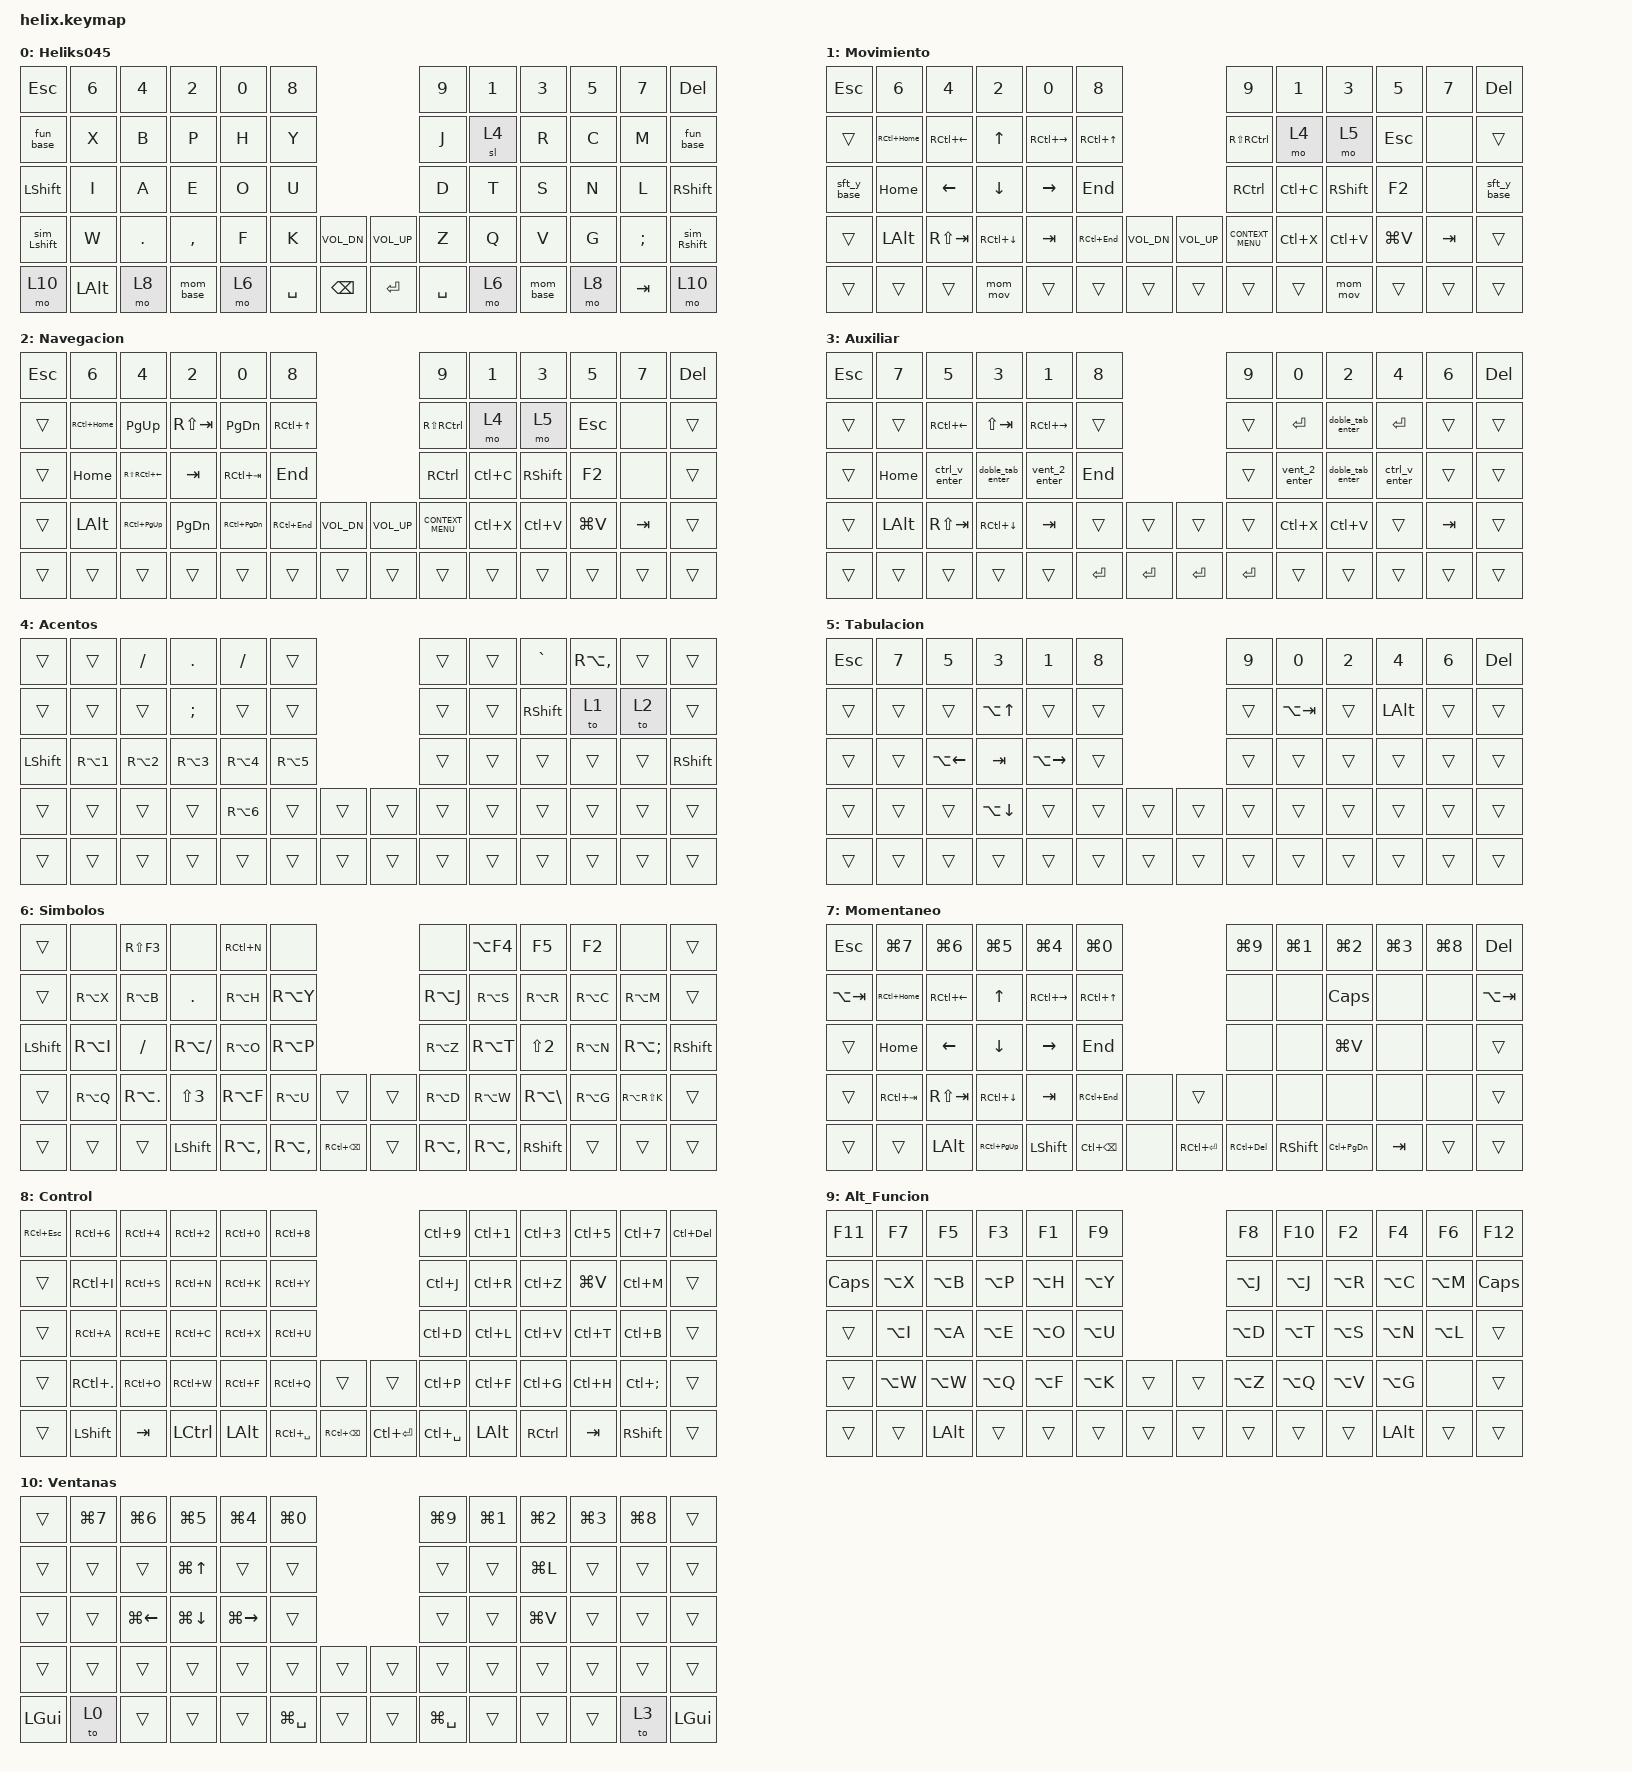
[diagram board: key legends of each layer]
/*
 * Copyright (c) 2020 The ZMK Contributors
 *
 * SPDX-License-Identifier: MIT
 */

#include <behaviors.dtsi>
#include <dt-bindings/zmk/keys.h>

#define DEFAULT 0
#define LOWER  1
#define RAISE  2
#define ADJUST 3

/* NOTE: At the time of the creation of this keymap, there are no specified codes for 'eisuu' and 'kana' input in ZMK.
However, 'LANG1' and 'LANG2' are fully-functioning candidates for 'kana' and 'eisuu' input respectively.
As such, those are in use within the default layer at this time.*/

/ {
    macros {
        sft_y_base: sft_y_base {
            compatible = "zmk,behavior-macro";
            #binding-cells = <0>;
            bindings =
                <&macro_tap>,
                <&to 0>,
                <&macro_press>,
                <&kp RIGHT_SHIFT>,
                <&macro_pause_for_release>,
                <&macro_release>,
                <&kp RIGHT_SHIFT>;

            label = "SFT_Y_BASE";
        };

        mom_base: mom_alt {
            compatible = "zmk,behavior-macro";
            #binding-cells = <0>;
            bindings =
                <&macro_tap>,
                <&to 7>,
                <&macro_pause_for_release>,
                <&macro_tap>,
                <&to 0>;

            label = "MOM_ALT";
        };

        alt_tab: lalt_tab {
            compatible = "zmk,behavior-macro";
            #binding-cells = <0>;
            bindings = <&macro_press>, <&kp LEFT_ALT>, <&macro_tap>, <&kp TAB>;

            label = "LALT_TAB";
        };

        sim_Lshift: sim_shift {
            compatible = "zmk,behavior-macro";
            #binding-cells = <0>;
            bindings =
                <&macro_tap>,
                <&tog 6>,
                <&macro_press>,
                <&kp LEFT_SHIFT>,
                <&macro_pause_for_release>,
                <&macro_release>,
                <&kp LEFT_SHIFT>,
                <&macro_tap>,
                <&tog 6>;

            label = "SIM_SHIFT";
        };

        sim_Rshift: sim_Rshift {
            compatible = "zmk,behavior-macro";
            #binding-cells = <0>;
            bindings =
                <&macro_tap>,
                <&tog 6>,
                <&macro_press>,
                <&kp RIGHT_SHIFT>,
                <&macro_pause_for_release>,
                <&macro_release>,
                <&kp RIGHT_SHIFT>,
                <&macro_tap>,
                <&tog 6>;

            label = "SIM_RSHIFT";
        };

        mom_mov: mom_mov {
            compatible = "zmk,behavior-macro";
            #binding-cells = <0>;
            bindings =
                <&macro_tap>,
                <&to 7>,
                <&macro_pause_for_release>,
                <&macro_tap>,
                <&to 1>;

            label = "MOM_MOV";
        };

        fun_base: fun_base {
            compatible = "zmk,behavior-macro";
            #binding-cells = <0>;
            bindings =
                <&macro_tap>,
                <&to 9>,
                <&macro_pause_for_release>,
                <&macro_tap>,
                <&to 0>;

            label = "FUN_BASE";
        };

        doble_tab_enter: doble_tab {
            compatible = "zmk,behavior-macro";
            #binding-cells = <0>;
            bindings = <&kp TAB &kp TAB &kp ENTER>;
            label = "DOBLE_TAB";
        };

        ctrl_v_enter: ctrl_v_enter {
            compatible = "zmk,behavior-macro";
            #binding-cells = <0>;
            bindings = <&kp LC(V) &kp ENTER>;
            label = "CTRL_V_ENTER";
        };

        vent_2_enter: vent_2_enter {
            compatible = "zmk,behavior-macro";
            #binding-cells = <0>;
            bindings = <&kp LG(NUMBER_2) &kp ENTER>;
            label = "VENT_2_ENTER";
        };
    };

    keymap {
        compatible = "zmk,keymap";

        Heliks045 {
            // ---------------------------------------------------------------------------------------------------------------------------------
            // | GRAVE  |   1    |   2    |   3    |   4    |   5    |                                      |   6    |   7    |   8    |   9    |   0    |  DEL   |
            // |  TAB   |   Q    |   W    |   E    |   R    |   T    |                                      |   Y    |   U    |   I    |   O    |   P    |  BSPC  |
            // |  CTRL  |   A    |   S    |   D    |   F    |   G    |                                      |   H    |   J    |   K    |   L    |   ;    |   '    |
            // |  SHIFT |   Z    |   X    |   C    |   V    |   B    |  LBKT  |                    |  RBKT  |   N    |   M    |   ,    |   .    |   /    |  RET   |
            // | ADJUST |  ESC   |  ALT   |  LGUI  | EISUU  | LOWER  | SPACE  |                    |  SPACE | RAISE  |  KANA  |  LEFT  |  DOWN  |  UP    |  RIGHT |

            bindings = <
&kp ESC         &kp N6        &kp N4      &kp N2     &kp N0  &kp N8                                       &kp N9     &kp N1  &kp N3     &kp N5  &kp N7         &kp DEL
&fun_base       &kp X         &kp B       &kp P      &kp H   &kp Y                                        &kp J      &sl 4   &kp R      &kp C   &kp M          &fun_base
&kp LEFT_SHIFT  &kp I         &kp A       &kp E      &kp O   &kp U                                        &kp D      &kp T   &kp S      &kp N   &kp L          &kp RIGHT_SHIFT
&sim_Lshift     &kp W         &kp PERIOD  &kp COMMA  &kp F   &kp K      &kp C_VOL_DN     &kp C_VOLUME_UP  &kp Z      &kp Q   &kp V      &kp G   &kp SEMICOLON  &sim_Rshift
&mo 10          &kp LEFT_ALT  &mo 8       &mom_base  &mo 6   &kp SPACE  &kp BACKSPACE    &kp ENTER        &kp SPACE  &mo 6   &mom_base  &mo 8   &kp TAB        &mo 10
            >;
        };

        Movimiento {
            // ---------------------------------------------------------------------------------------------------------------------------------
            // |      |      |      |      |      |      |                                  |      |      |      |      |      |      |
            // |  ~   |  !   |  @   |  #   |  $   |  %   |                                  |  ^   |  &   |  *   |  (   |  )   |      |
            // |      |      |      |      |      |      |                                  |      |  _   |  +   |  {   |  }   | PIPE |
            // |      |      |      |      |      |      |  (   |                    |  )   |      |      |      | HOME | END  |      |
            // |      |      |      |      |      |      |      |                    |      |      |      |      |      |      |      |

            bindings = <
&kp ESC      &kp N6        &kp N4        &kp N2        &kp N0         &kp N8                                          &kp N9              &kp N1     &kp N3           &kp N5     &kp N7   &kp DEL
&trans       &kp RC(HOME)  &kp RC(LEFT)  &kp UP_ARROW  &kp RC(RIGHT)  &kp RC(UP_ARROW)                                &kp RS(RCTRL)       &mo 4      &mo 5            &kp ESC    &none    &trans
&sft_y_base  &kp HOME      &kp LEFT      &kp DOWN      &kp RIGHT      &kp END                                         &kp RCTRL           &kp LC(C)  &kp RIGHT_SHIFT  &kp F2     &none    &sft_y_base
&trans       &kp LEFT_ALT  &kp RS(TAB)   &kp RC(DOWN)  &kp TAB        &kp RC(END)       &kp C_VOL_DN    &kp C_VOL_UP  &kp K_CONTEXT_MENU  &kp LC(X)  &kp LC(V)        &kp LG(V)  &kp TAB  &trans
&trans       &trans        &trans        &mom_mov      &trans         &trans            &trans          &trans        &trans              &trans     &mom_mov         &trans     &trans   &trans
            >;
        };

        Navegacion {
            bindings = <
&kp ESC  &kp N6        &kp N4            &kp N2         &kp N0             &kp N8                                          &kp N9              &kp N1     &kp N3           &kp N5     &kp N7   &kp DEL
&trans   &kp RC(HOME)  &kp PAGE_UP       &kp RS(TAB)    &kp PAGE_DOWN      &kp RC(UP_ARROW)                                &kp RS(RCTRL)       &mo 4      &mo 5            &kp ESC    &none    &trans
&trans   &kp HOME      &kp RS(RC(LEFT))  &kp TAB        &kp RC(TAB)        &kp END                                         &kp RCTRL           &kp LC(C)  &kp RIGHT_SHIFT  &kp F2     &none    &trans
&trans   &kp LEFT_ALT  &kp RC(PAGE_UP)   &kp PAGE_DOWN  &kp RC(PAGE_DOWN)  &kp RC(END)       &kp C_VOL_DN    &kp C_VOL_UP  &kp K_CONTEXT_MENU  &kp LC(X)  &kp LC(V)        &kp LG(V)  &kp TAB  &trans
&trans   &trans        &trans            &trans         &trans             &trans            &trans          &trans        &trans              &trans     &trans           &trans     &trans   &trans
            >;
        };

        Auxiliar {
            // ---------------------------------------------------------------------------------------------------------------------------------
            // |    `     |    !     |    @     |    #     |    $     |    %     |                                          |    ^     |    &     |    *     |    (     |    )     |  EP TOG  |
            // |  BT CLR  | BT SEL0  | BT SEL1  | BT SEL2  | BGT SEL3 | BT SEL4  |                                          | RGB EFF+ | RGB HUE+ | RGB SAT+ | RGB SPD+ | RGB BRI+ | RGB TOG  |
            // |  BT NXT  | OUT TOG  | OUT USB  | OUT BLE  |          |          |                                          | RGB EFF- | RGB HUE- | RGB SAT- | RGB SPD- | RGB BRI- |          |
            // |  BT PRV  |          |          |          |          |          |    {     |                    |    }     |          |          |          |          |          |          |
            // |          |          |          |          |          |          |          |                    |          |          |          |          |          |          |          |

            bindings = <
&kp ESC  &kp N7        &kp N5         &kp N3            &kp N1         &kp N8                             &kp N9     &kp N0         &kp N2            &kp N4         &kp N6   &kp DEL
&trans   &trans        &kp RC(LEFT)   &kp LS(TAB)       &kp RC(RIGHT)  &trans                             &trans     &kp ENTER      &doble_tab_enter  &kp ENTER      &trans   &trans
&trans   &kp HOME      &ctrl_v_enter  &doble_tab_enter  &vent_2_enter  &kp END                            &trans     &vent_2_enter  &doble_tab_enter  &ctrl_v_enter  &trans   &trans
&trans   &kp LEFT_ALT  &kp RS(TAB)    &kp RC(DOWN)      &kp TAB        &trans     &trans       &trans     &trans     &kp LC(X)      &kp LC(V)         &trans         &kp TAB  &trans
&trans   &trans        &trans         &trans            &trans         &kp ENTER  &kp ENTER    &kp ENTER  &kp ENTER  &trans         &trans            &trans         &trans   &trans
            >;
        };

        Acentos {
            bindings = <
&trans          &trans            &kp SLASH         &kp DOT           &kp SLASH         &trans                        &trans  &trans  &kp GRAVE   &kp RA(COMMA)  &trans  &trans
&trans          &trans            &trans            &kp SEMICOLON     &trans            &trans                        &trans  &trans  &kp RSHIFT  &to 1          &to 2   &trans
&kp LEFT_SHIFT  &kp RA(NUMBER_1)  &kp RA(NUMBER_2)  &kp RA(NUMBER_3)  &kp RA(NUMBER_4)  &kp RA(N5)                    &trans  &trans  &trans      &trans         &trans  &kp RIGHT_SHIFT
&trans          &trans            &trans            &trans            &kp RA(NUMBER_6)  &trans      &trans    &trans  &trans  &trans  &trans      &trans         &trans  &trans
&trans          &trans            &trans            &trans            &trans            &trans      &trans    &trans  &trans  &trans  &trans      &trans         &trans  &trans
            >;
        };

        Tabulacion {
            bindings = <
&kp ESC  &kp N7  &kp N5              &kp N3              &kp N1               &kp N8                    &kp N9  &kp N0       &kp N2  &kp N4        &kp N6  &kp DEL
&trans   &trans  &trans              &kp LA(UP_ARROW)    &trans               &trans                    &trans  &kp LA(TAB)  &trans  &kp LEFT_ALT  &trans  &trans
&trans   &trans  &kp LA(LEFT_ARROW)  &kp TAB             &kp LA(RIGHT_ARROW)  &trans                    &trans  &trans       &trans  &trans        &trans  &trans
&trans   &trans  &trans              &kp LA(DOWN_ARROW)  &trans               &trans  &trans    &trans  &trans  &trans       &trans  &trans        &trans  &trans
&trans   &trans  &trans              &trans              &trans               &trans  &trans    &trans  &trans  &trans       &trans  &trans        &trans  &trans
            >;
        };

        Simbolos {
            bindings = <
&trans          &none      &kp RS(F3)      &none             &kp RC(N)      &none                                       &none          &kp LA(F4)     &kp F5             &kp F2     &none              &trans
&trans          &kp RA(X)  &kp RA(B)       &kp PERIOD        &kp RA(H)      &kp RA(Y)                                   &kp RA(J)      &kp RA(S)      &kp RA(R)          &kp RA(C)  &kp RA(M)          &trans
&kp LEFT_SHIFT  &kp RA(I)  &kp SLASH       &kp RA(SLASH)     &kp RA(O)      &kp RA(P)                                   &kp RA(Z)      &kp RA(T)      &kp LS(NUMBER_2)   &kp RA(N)  &kp RA(SEMICOLON)  &kp RIGHT_SHIFT
&trans          &kp RA(Q)  &kp RA(PERIOD)  &kp LS(NUMBER_3)  &kp RA(F)      &kp RA(U)      &trans               &trans  &kp RA(D)      &kp RA(W)      &kp RA(BACKSLASH)  &kp RA(G)  &kp RA(RS(K))      &trans
&trans          &trans     &trans          &kp LEFT_SHIFT    &kp RA(COMMA)  &kp RA(COMMA)  &kp RC(BACKSPACE)    &trans  &kp RA(COMMA)  &kp RA(COMMA)  &kp RIGHT_SHIFT    &trans     &trans             &trans
            >;
        };

        Momentaneo {
            bindings = <
&kp ESC      &kp LG(N7)    &kp LG(N6)      &kp LG(N5)          &kp LG(N4)      &kp LG(N0)                                 &kp LG(N9)      &kp LG(N1)       &kp LG(N2)         &kp LG(N3)  &kp LG(N8)  &kp DEL
&kp LA(TAB)  &kp RC(HOME)  &kp RC(LEFT)    &kp UP_ARROW        &kp RC(RIGHT)   &kp RC(UP_ARROW)                           &none           &none            &kp CAPS           &none       &none       &kp LA(TAB)
&trans       &kp HOME      &kp LEFT_ARROW  &kp DOWN_ARROW      &kp RIGHT       &kp END                                    &none           &none            &kp LG(V)          &none       &none       &trans
&trans       &kp RC(TAB)   &kp RS(TAB)     &kp RC(DOWN_ARROW)  &kp TAB         &kp RC(END)        &none    &trans         &none           &none            &none              &none       &none       &trans
&trans       &trans        &kp LEFT_ALT    &kp RC(PAGE_UP)     &kp LEFT_SHIFT  &kp LC(BACKSPACE)  &none    &kp RC(ENTER)  &kp RC(DELETE)  &kp RIGHT_SHIFT  &kp LC(PAGE_DOWN)  &kp TAB     &trans      &trans
            >;
        };

        Control {
            bindings = <
&kp RC(ESC)  &kp RC(N6)      &kp RC(N4)  &kp RC(N2)        &kp RC(N0)    &kp RC(N8)                                         &kp LC(N9)     &kp LC(N1)    &kp LC(N3)         &kp LC(N5)  &kp LC(N7)       &kp LC(DEL)
&trans       &kp RC(I)       &kp RC(S)   &kp RC(N)         &kp RC(K)     &kp RC(Y)                                          &kp LC(J)      &kp LC(R)     &kp LC(Z)          &kp LG(V)   &kp LC(M)        &trans
&trans       &kp RC(A)       &kp RC(E)   &kp RC(C)         &kp RC(X)     &kp RC(U)                                          &kp LC(D)      &kp LC(L)     &kp LC(V)          &kp LC(T)   &kp LC(B)        &trans
&trans       &kp RC(DOT)     &kp RC(O)   &kp RC(W)         &kp RC(F)     &kp RC(Q)      &trans               &trans         &kp LC(P)      &kp LC(F)     &kp LC(G)          &kp LC(H)   &kp LC(SEMI)     &trans
&trans       &kp LEFT_SHIFT  &kp TAB     &kp LEFT_CONTROL  &kp LEFT_ALT  &kp RC(SPACE)  &kp RC(BACKSPACE)    &kp LC(ENTER)  &kp LC(SPACE)  &kp LEFT_ALT  &kp RIGHT_CONTROL  &kp TAB     &kp RIGHT_SHIFT  &trans
            >;
        };

        Alt_Funcion {
            bindings = <
&kp F11   &kp F7     &kp F5        &kp F3     &kp F1     &kp F9                       &kp F8     &kp F10    &kp F2     &kp F4        &kp F6     &kp F12
&kp CAPS  &kp LA(X)  &kp LA(B)     &kp LA(P)  &kp LA(H)  &kp LA(Y)                    &kp LA(J)  &kp LA(J)  &kp LA(R)  &kp LA(C)     &kp LA(M)  &kp CAPSLOCK
&trans    &kp LA(I)  &kp LA(A)     &kp LA(E)  &kp LA(O)  &kp LA(U)                    &kp LA(D)  &kp LA(T)  &kp LA(S)  &kp LA(N)     &kp LA(L)  &trans
&trans    &kp LA(W)  &kp LA(W)     &kp LA(Q)  &kp LA(F)  &kp LA(K)  &trans    &trans  &kp LA(Z)  &kp LA(Q)  &kp LA(V)  &kp LA(G)     &none      &trans
&trans    &trans     &kp LEFT_ALT  &trans     &trans     &trans     &trans    &trans  &trans     &trans     &trans     &kp LEFT_ALT  &trans     &trans
            >;
        };

        Ventanas {
            bindings = <
&trans        &kp LG(N7)  &kp LG(N6)          &kp LG(N5)          &kp LG(N4)     &kp LG(N0)                       &kp LG(N9)     &kp LG(N1)  &kp LG(N2)  &kp LG(N3)  &kp LG(N8)  &trans
&trans        &trans      &trans              &kp LG(UP_ARROW)    &trans         &trans                           &trans         &trans      &kp LG(L)   &trans      &trans      &trans
&trans        &trans      &kp LG(LEFT_ARROW)  &kp LG(DOWN_ARROW)  &kp LG(RIGHT)  &trans                           &trans         &trans      &kp LG(V)   &trans      &trans      &trans
&trans        &trans      &trans              &trans              &trans         &trans         &trans    &trans  &trans         &trans      &trans      &trans      &trans      &trans
&kp LEFT_GUI  &to 0       &trans              &trans              &trans         &kp LG(SPACE)  &trans    &trans  &kp LG(SPACE)  &trans      &trans      &trans      &to 3       &kp LEFT_GUI
            >;
        };
    };
};
